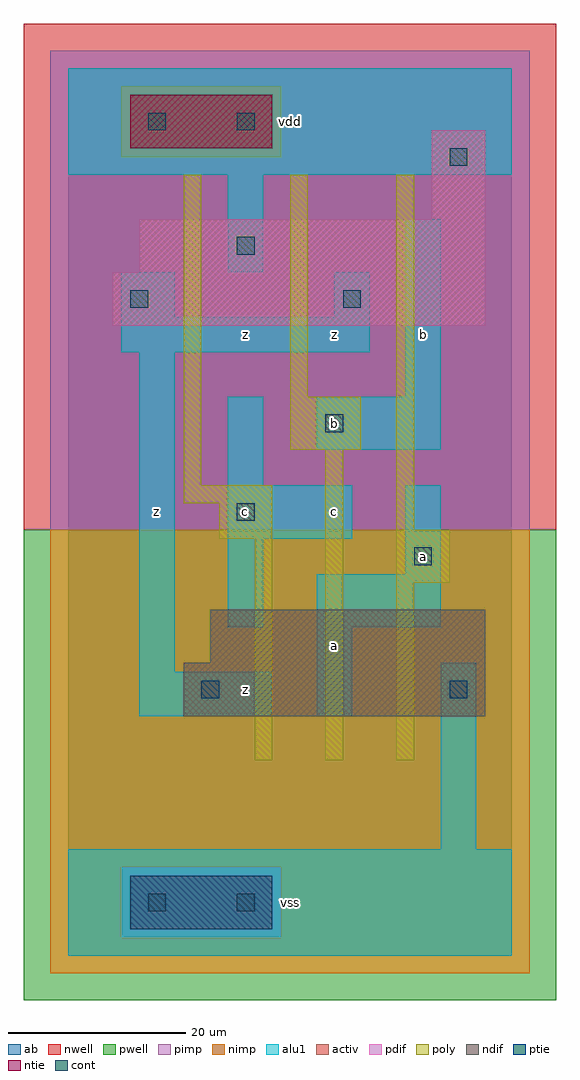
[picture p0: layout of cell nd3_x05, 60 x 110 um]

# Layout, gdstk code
import gdstk
lib = gdstk.Library(unit=1e-6, precision=1e-09)
def R(c, l, rs):  # rectangles x0, y0, x1, y1
    for r in rs: c.add(gdstk.rectangle(r[:2], r[2:], *l))
ndif = (3, 0)
pdif = (4, 0)
ntie = (5, 0)
ptie = (6, 0)
cont = (25, 0)
pwell = (41, 0)
nwell = (42, 0)
activ = (43, 0)
pimp = (44, 0)
nimp = (45, 0)
poly = (46, 0)
alu1 = (49, 0)
ab = (63, 0)

nd3_x05 = lib.new_cell('nd3_x05')
R(nd3_x05, ndif, [(13,27,47,33), (16,33,47,39)])
R(nd3_x05, pdif, [(5,71,47,77), (8,77,47,83), (41,83,47,93)])
R(nd3_x05, ntie, [(7,91,23,97)])
R(nd3_x05, ptie, [(7,3,23,9)])
R(nd3_x05, cont, [(9,5,11,7), (19,5,21,7), (15,29,17,31), (43,29,45,31), (39,44,41,46), (19,49,21,51), (29,59,31,61), (7,73,9,75), (31,73,33,75), (19,79,21,81), (43,89,45,91), (9,93,11,95), (19,93,21,95)])
R(nd3_x05, pwell, [(-5,-5,55,48)])
R(nd3_x05, nwell, [(-5,48,55,105)])
R(nd3_x05, activ, [(7,3,23,9), (13,27,47,33), (16,33,47,39), (5,71,47,77), (8,77,47,83), (41,83,47,93), (7,91,23,97)])
R(nd3_x05, pimp, [(6,2,24,10), (-2,48,52,90), (-2,90,6,98), (24,90,52,98), (-2,98,52,102)])
R(nd3_x05, nimp, [(-2,-2,52,2), (-2,2,6,10), (24,2,52,10), (-2,10,52,48), (6,90,24,98)])
R(nd3_x05, poly, [(21,22,23,47), (29,22,31,57), (37,22,39,42), (37,42,43,48), (17,47,23,51), (37,48,39,88), (13,51,23,53), (13,53,15,88), (25,57,33,63), (25,63,27,88)])
R(nd3_x05, alu1, [(0,0,50,12), (42,12,46,33), (8,27,23,32), (28,27,32,37), (8,32,12,68), (18,37,22,47), (28,37,42,43), (38,43,42,53), (18,47,32,53), (18,53,22,63), (28,57,42,63), (38,63,42,83), (6,68,34,72), (6,72,12,77), (30,72,34,77), (18,77,22,88), (0,88,50,100)])
R(nd3_x05, ab, [(0,0,50,100)])
nd3_x05.add(gdstk.Label('z', (20,30), layer=49, texttype=0))
nd3_x05.add(gdstk.Label('c', (20,50), layer=49, texttype=0))
nd3_x05.add(gdstk.Label('z', (10,50), layer=49, texttype=0))
nd3_x05.add(gdstk.Label('z', (20,70), layer=49, texttype=0))
nd3_x05.add(gdstk.Label('vss', (25,6), layer=49, texttype=0))
nd3_x05.add(gdstk.Label('a', (30,35), layer=49, texttype=0))
nd3_x05.add(gdstk.Label('c', (30,50), layer=49, texttype=0))
nd3_x05.add(gdstk.Label('b', (30,60), layer=49, texttype=0))
nd3_x05.add(gdstk.Label('z', (30,70), layer=49, texttype=0))
nd3_x05.add(gdstk.Label('vdd', (25,94), layer=49, texttype=0))
nd3_x05.add(gdstk.Label('a', (40,45), layer=49, texttype=0))
nd3_x05.add(gdstk.Label('b', (40,70), layer=49, texttype=0))

lib.write_gds('nd3_x05.gds')
